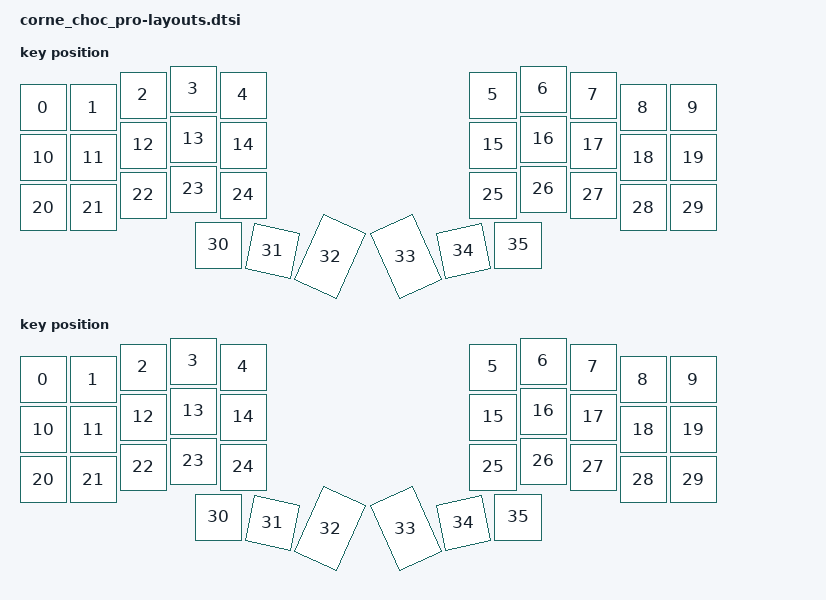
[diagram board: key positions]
#include <physical_layouts.dtsi>

/ {
    corne_choc_pro_position_map {
        compatible = "zmk,physical-layout-position-map";
        complete;

        default_map: six_col {
            physical-layout = <&default_layout>;
            positions
            = < 0  1  2  3  4    7  8  9 10 11>
            , <12 13 14 15 16   19 20 21 22 23>
            , <24 25 26 27 28   31 32 33 34 35>
            , <      36 37 38   39 40 41      >;
        };

        five_col_map: five_col {
            physical-layout = <&five_col_layout>;
            positions
            = < 0  1  2  3  4  5  6  7  8  9 10 11>
            , <12 13 14 15 16 17 18 19 20 21 22 23>
            , <24 25 26 27 28 29 30 31 32 33 34 35>
            , <         36 37 38 39 40 41         >;
        };
    };
};

/ {
    default_layout: default_layout {
        compatible = "zmk,physical-layout";
        display-name = "Default Layout";
        keys  //                     w   h    x    y     rot    rx    ry
            = <&key_physical_attrs 100 100    0   37       0     0     0>
            , <&key_physical_attrs 100 100  100   37       0     0     0>
            , <&key_physical_attrs 100 100  200   12       0     0     0>
            , <&key_physical_attrs 100 100  300    0       0     0     0>
            , <&key_physical_attrs 100 100  400   12       0     0     0>
            , <&key_physical_attrs 100 100  900   12       0     0     0>
            , <&key_physical_attrs 100 100 1000    0       0     0     0>
            , <&key_physical_attrs 100 100 1100   12       0     0     0>
            , <&key_physical_attrs 100 100 1200   37       0     0     0>
            , <&key_physical_attrs 100 100 1300   37       0     0     0>

            , <&key_physical_attrs 100 100    0  137       0     0     0>
            , <&key_physical_attrs 100 100  100  137       0     0     0>
            , <&key_physical_attrs 100 100  200  112       0     0     0>
            , <&key_physical_attrs 100 100  300  100       0     0     0>
            , <&key_physical_attrs 100 100  400  112       0     0     0>
            , <&key_physical_attrs 100 100  900  112       0     0     0>
            , <&key_physical_attrs 100 100 1000  100       0     0     0>
            , <&key_physical_attrs 100 100 1100  112       0     0     0>
            , <&key_physical_attrs 100 100 1200  137       0     0     0>
            , <&key_physical_attrs 100 100 1300  137       0     0     0>

            , <&key_physical_attrs 100 100    0  237       0     0     0>
            , <&key_physical_attrs 100 100  100  237       0     0     0>
            , <&key_physical_attrs 100 100  200  212       0     0     0>
            , <&key_physical_attrs 100 100  300  200       0     0     0>
            , <&key_physical_attrs 100 100  400  212       0     0     0>
            , <&key_physical_attrs 100 100  900  212       0     0     0>
            , <&key_physical_attrs 100 100 1000  200       0     0     0>
            , <&key_physical_attrs 100 100 1100  212       0     0     0>
            , <&key_physical_attrs 100 100 1200  237       0     0     0>
            , <&key_physical_attrs 100 100 1300  237       0     0     0>
            
            , <&key_physical_attrs 100 100  350  312       0     0     0>
            , <&key_physical_attrs 100 100  450  312    1200   450   412>
            , <&key_physical_attrs 100 150  548  283    2400   548   433>
            , <&key_physical_attrs 100 150  752  283  (-2400)  852   433>
            , <&key_physical_attrs 100 100  850  312  (-1200)  950   412>
            , <&key_physical_attrs 100 100  950  312       0     0     0>
            ;
    };

    five_col_layout: five_col_layout {
        compatible = "zmk,physical-layout";
        display-name = "5-Col Layout";
        keys  //                     w   h    x    y     rot    rx    ry
            = <&key_physical_attrs 100 100    0   37       0     0     0>
            , <&key_physical_attrs 100 100  100   37       0     0     0>
            , <&key_physical_attrs 100 100  200   12       0     0     0>
            , <&key_physical_attrs 100 100  300    0       0     0     0>
            , <&key_physical_attrs 100 100  400   12       0     0     0>
            , <&key_physical_attrs 100 100  900   12       0     0     0>
            , <&key_physical_attrs 100 100 1000    0       0     0     0>
            , <&key_physical_attrs 100 100 1100   12       0     0     0>
            , <&key_physical_attrs 100 100 1200   37       0     0     0>
            , <&key_physical_attrs 100 100 1300   37       0     0     0>

            , <&key_physical_attrs 100 100    0  137       0     0     0>
            , <&key_physical_attrs 100 100  100  137       0     0     0>
            , <&key_physical_attrs 100 100  200  112       0     0     0>
            , <&key_physical_attrs 100 100  300  100       0     0     0>
            , <&key_physical_attrs 100 100  400  112       0     0     0>
            , <&key_physical_attrs 100 100  900  112       0     0     0>
            , <&key_physical_attrs 100 100 1000  100       0     0     0>
            , <&key_physical_attrs 100 100 1100  112       0     0     0>
            , <&key_physical_attrs 100 100 1200  137       0     0     0>
            , <&key_physical_attrs 100 100 1300  137       0     0     0>

            , <&key_physical_attrs 100 100    0  237       0     0     0>
            , <&key_physical_attrs 100 100  100  237       0     0     0>
            , <&key_physical_attrs 100 100  200  212       0     0     0>
            , <&key_physical_attrs 100 100  300  200       0     0     0>
            , <&key_physical_attrs 100 100  400  212       0     0     0>
            , <&key_physical_attrs 100 100  900  212       0     0     0>
            , <&key_physical_attrs 100 100 1000  200       0     0     0>
            , <&key_physical_attrs 100 100 1100  212       0     0     0>
            , <&key_physical_attrs 100 100 1200  237       0     0     0>
            , <&key_physical_attrs 100 100 1300  237       0     0     0>
            
            , <&key_physical_attrs 100 100  350  312       0     0     0>
            , <&key_physical_attrs 100 100  450  312    1200   450   412>
            , <&key_physical_attrs 100 150  548  283    2400   548   433>
            , <&key_physical_attrs 100 150  752  283  (-2400)  852   433>
            , <&key_physical_attrs 100 100  850  312  (-1200)  950   412>
            , <&key_physical_attrs 100 100  950  312       0     0     0>
            ;
    };
};
